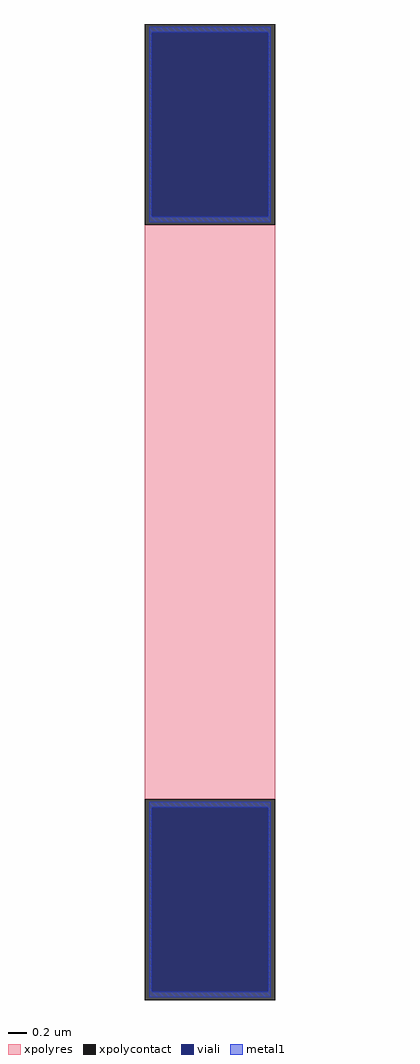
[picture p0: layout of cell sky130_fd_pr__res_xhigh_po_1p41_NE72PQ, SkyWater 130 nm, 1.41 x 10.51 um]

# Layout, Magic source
magic
tech sky130A
magscale 1 2
<< xpolycontact >>
rect -141 619 141 1051
rect -141 -1051 141 -619
<< xpolyres >>
rect -141 -619 141 619
<< viali >>
rect -125 636 125 1033
rect -125 -1033 125 -636
<< metal1 >>
rect -131 1033 131 1045
rect -131 636 -125 1033
rect 125 636 131 1033
rect -131 624 131 636
rect -131 -636 131 -624
rect -131 -1033 -125 -636
rect 125 -1033 131 -636
rect -131 -1045 131 -1033
<< properties >>
string gencell sky130_fd_pr__res_xhigh_po_1p41
string library sky130
string parameters w 1.410 l 6.346 m 1 nx 1 wmin 1.410 lmin 0.50 rho 2000 val 9.268k dummy 0 dw 0.0 term 188.2 sterm 0.0 caplen 0 wmax 1.410 guard 0 glc 1 grc 1 gtc 1 gbc 1 compatible {sky130_fd_pr__res_xhigh_po_0p35  sky130_fd_pr__res_xhigh_po_0p69 sky130_fd_pr__res_xhigh_po_1p41  sky130_fd_pr__res_xhigh_po_2p85 sky130_fd_pr__res_xhigh_po_5p73} snake 0 full_metal 1 n_guard 0 hv_guard 0 vias 1 viagb 0 viagt 0 viagl 0 viagr 0
<< end >>
